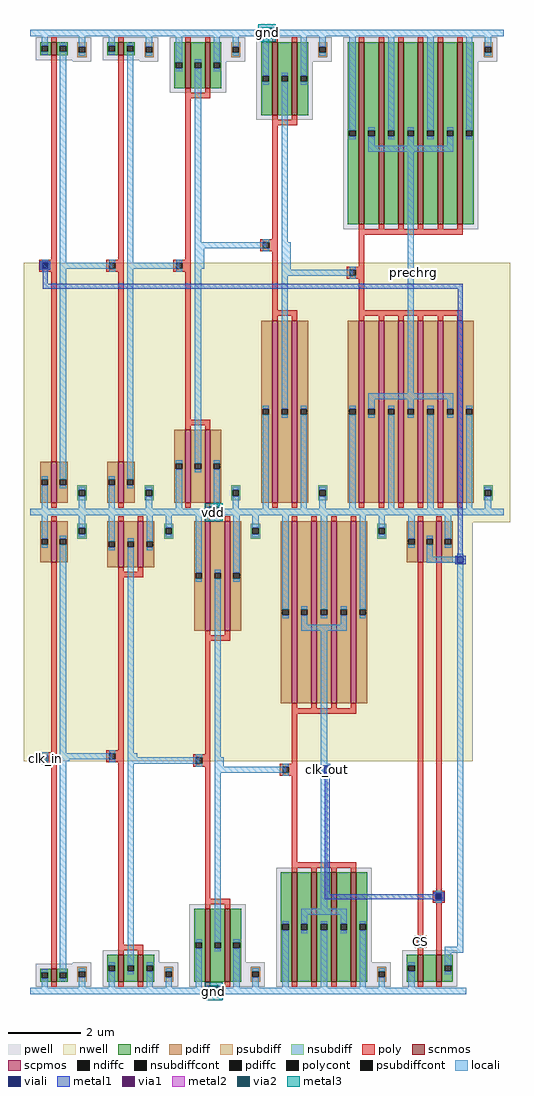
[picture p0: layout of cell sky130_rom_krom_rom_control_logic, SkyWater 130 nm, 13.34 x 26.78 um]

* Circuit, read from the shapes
.subckt sky130_rom_krom_rom_control_logic clk_in clk_out prechrg CS gnd vdd
XM1 sky130_rom_krom_rom_clock_driver_0/sky130_rom_krom_pinv_0_0/A clk_in gnd gnd sky130_fd_pr__nfet_01v8 w=0.36 l=0.15
XM2 sky130_rom_krom_rom_precharge_driver_0/sky130_rom_krom_pinv_0/A sky130_rom_krom_rom_precharge_driver_0/A gnd gnd sky130_fd_pr__nfet_01v8 w=0.36 l=0.15
XM3 sky130_rom_krom_rom_clock_driver_0/sky130_rom_krom_pinv_1_0/A sky130_rom_krom_rom_clock_driver_0/sky130_rom_krom_pinv_0_0/A gnd gnd sky130_fd_pr__nfet_01v8 w=0.74 l=0.15 m=2
XM4 sky130_rom_krom_rom_precharge_driver_0/sky130_rom_krom_pinv_3_0/A sky130_rom_krom_rom_precharge_driver_0/sky130_rom_krom_pinv_0/A gnd gnd sky130_fd_pr__nfet_01v8 w=0.36 l=0.15
XM5 sky130_rom_krom_rom_precharge_driver_0/sky130_rom_krom_pinv_4_0/A sky130_rom_krom_rom_precharge_driver_0/sky130_rom_krom_pinv_3_0/A gnd gnd sky130_fd_pr__nfet_01v8 w=1.26 l=0.15 m=2
XM6 sky130_rom_krom_rom_clock_driver_0/sky130_rom_krom_pinv_2_0/A sky130_rom_krom_rom_clock_driver_0/sky130_rom_krom_pinv_1_0/A gnd gnd sky130_fd_pr__nfet_01v8 w=2 l=0.15 m=2
XM7 sky130_rom_krom_rom_precharge_driver_0/sky130_rom_krom_pinv_5_0/A sky130_rom_krom_rom_precharge_driver_0/sky130_rom_krom_pinv_4_0/A gnd gnd sky130_fd_pr__nfet_01v8 w=2 l=0.15 m=2
XM8 clk_out sky130_rom_krom_rom_clock_driver_0/sky130_rom_krom_pinv_2_0/A gnd gnd sky130_fd_pr__nfet_01v8 w=3 l=0.15 m=4
XM9 prechrg sky130_rom_krom_rom_precharge_driver_0/sky130_rom_krom_pinv_5_0/A gnd gnd sky130_fd_pr__nfet_01v8 w=5 l=0.15 m=6
XM10 n1 CS gnd gnd sky130_fd_pr__nfet_01v8 w=0.74 l=0.15
XM11 sky130_rom_krom_rom_precharge_driver_0/A clk_out n1 gnd sky130_fd_pr__nfet_01v8 w=0.74 l=0.15
XM12 sky130_rom_krom_rom_clock_driver_0/sky130_rom_krom_pinv_0_0/A clk_in vdd vdd sky130_fd_pr__pfet_01v8 w=1.12 l=0.15
XM13 sky130_rom_krom_rom_precharge_driver_0/sky130_rom_krom_pinv_0/A sky130_rom_krom_rom_precharge_driver_0/A vdd vdd sky130_fd_pr__pfet_01v8 w=1.12 l=0.15
XM14 sky130_rom_krom_rom_clock_driver_0/sky130_rom_krom_pinv_1_0/A sky130_rom_krom_rom_clock_driver_0/sky130_rom_krom_pinv_0_0/A vdd vdd sky130_fd_pr__pfet_01v8 w=1.26 l=0.15 m=2
XM15 sky130_rom_krom_rom_precharge_driver_0/sky130_rom_krom_pinv_3_0/A sky130_rom_krom_rom_precharge_driver_0/sky130_rom_krom_pinv_0/A vdd vdd sky130_fd_pr__pfet_01v8 w=1.12 l=0.15
XM16 sky130_rom_krom_rom_precharge_driver_0/sky130_rom_krom_pinv_4_0/A sky130_rom_krom_rom_precharge_driver_0/sky130_rom_krom_pinv_3_0/A vdd vdd sky130_fd_pr__pfet_01v8 w=2 l=0.15 m=2
XM17 sky130_rom_krom_rom_clock_driver_0/sky130_rom_krom_pinv_2_0/A sky130_rom_krom_rom_clock_driver_0/sky130_rom_krom_pinv_1_0/A vdd vdd sky130_fd_pr__pfet_01v8 w=3 l=0.15 m=2
XM18 sky130_rom_krom_rom_precharge_driver_0/sky130_rom_krom_pinv_5_0/A sky130_rom_krom_rom_precharge_driver_0/sky130_rom_krom_pinv_4_0/A vdd vdd sky130_fd_pr__pfet_01v8 w=5 l=0.15 m=2
XM19 clk_out sky130_rom_krom_rom_clock_driver_0/sky130_rom_krom_pinv_2_0/A vdd vdd sky130_fd_pr__pfet_01v8 w=5 l=0.15 m=4
XM20 prechrg sky130_rom_krom_rom_precharge_driver_0/sky130_rom_krom_pinv_5_0/A vdd vdd sky130_fd_pr__pfet_01v8 w=5 l=0.15 m=6
XM21 sky130_rom_krom_rom_precharge_driver_0/A CS vdd vdd sky130_fd_pr__pfet_01v8 w=1.12 l=0.15
XM22 vdd clk_out sky130_rom_krom_rom_precharge_driver_0/A vdd sky130_fd_pr__pfet_01v8 w=1.12 l=0.15
.ends

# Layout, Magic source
magic
tech sky130A
magscale 1 2
<< locali >>
rect 1265 5240 1281 5274
rect 1315 5240 1331 5274
rect 64 3997 98 4013
rect 64 3947 98 3963
rect 2087 3925 2121 3959
rect 973 2611 989 2645
rect 1023 2611 1039 2645
rect 2342 2383 2376 2399
rect 2342 2333 2376 2349
rect 64 1244 98 1310
rect 1611 1232 1645 1248
rect 1611 1182 1645 1198
rect 2224 535 2258 551
rect 2224 485 2258 501
rect 2124 237 2158 303
rect 973 -17 989 17
rect 1023 -17 1039 17
<< viali >>
rect 1281 5240 1315 5274
rect 64 3963 98 3997
rect 989 2611 1023 2645
rect 2342 2349 2376 2383
rect 1611 1198 1645 1232
rect 2224 501 2258 535
rect 989 -17 1023 17
<< metal1 >>
rect 1272 5283 1324 5289
rect 1272 5225 1324 5231
rect 52 3997 110 4003
rect 52 3963 64 3997
rect 98 3963 110 3997
rect 52 3957 110 3963
rect 67 3882 95 3957
rect 67 3854 2373 3882
rect 980 2654 1032 2660
rect 980 2596 1032 2602
rect 2345 2389 2373 3854
rect 2330 2383 2388 2389
rect 2330 2349 2342 2383
rect 2376 2349 2388 2383
rect 2330 2343 2388 2349
rect 1599 1232 1657 1238
rect 1599 1198 1611 1232
rect 1645 1198 1657 1232
rect 1599 1192 1657 1198
rect 1614 532 1642 1192
rect 2212 535 2270 541
rect 2212 532 2224 535
rect 1614 504 2224 532
rect 2212 501 2224 504
rect 2258 501 2270 535
rect 2212 495 2270 501
rect 980 26 1032 32
rect 980 -32 1032 -26
<< via1 >>
rect 1272 5274 1324 5283
rect 1272 5240 1281 5274
rect 1281 5240 1315 5274
rect 1315 5240 1324 5274
rect 1272 5231 1324 5240
rect 980 2645 1032 2654
rect 980 2611 989 2645
rect 989 2611 1023 2645
rect 1023 2611 1032 2645
rect 980 2602 1032 2611
rect 980 17 1032 26
rect 980 -17 989 17
rect 989 -17 1023 17
rect 1023 -17 1032 17
rect 980 -26 1032 -17
<< metal2 >>
rect 1261 5229 1270 5285
rect 1326 5229 1335 5285
rect 969 2600 978 2656
rect 1034 2600 1043 2656
rect 969 -28 978 28
rect 1034 -28 1043 28
<< via2 >>
rect 1270 5283 1326 5285
rect 1270 5231 1272 5283
rect 1272 5231 1324 5283
rect 1324 5231 1326 5283
rect 1270 5229 1326 5231
rect 978 2654 1034 2656
rect 978 2602 980 2654
rect 980 2602 1032 2654
rect 1032 2602 1034 2654
rect 978 2600 1034 2602
rect 978 26 1034 28
rect 978 -26 980 26
rect 980 -26 1032 26
rect 1032 -26 1034 26
rect 978 -28 1034 -26
<< metal3 >>
rect 1249 5285 1347 5306
rect 1249 5229 1270 5285
rect 1326 5229 1347 5285
rect 1249 5208 1347 5229
rect 957 2656 1055 2677
rect 957 2600 978 2656
rect 1034 2600 1055 2656
rect 957 2579 1055 2600
rect 957 28 1055 49
rect 957 -28 978 28
rect 1034 -28 1055 28
rect 957 -49 1055 -28
use sky130_rom_krom_rom_clock_driver  sky130_rom_krom_rom_clock_driver_0
transform 1 0 0 0 1 0
box -36 -17 2048 2686
use sky130_rom_krom_rom_control_nand  sky130_rom_krom_rom_control_nand_0
transform 1 0 2012 0 1 0
box -36 -17 414 2686
use sky130_rom_krom_rom_precharge_driver  sky130_rom_krom_rom_precharge_driver_0
transform 1 0 0 0 -1 5257
box -36 -17 2632 2686
<< labels >>
rlabel locali s 81 1277 81 1277 4 clk_in
port 2 nsew
rlabel locali s 1628 1215 1628 1215 4 clk_out
port 3 nsew
rlabel locali s 2104 3942 2104 3942 4 prechrg
port 4 nsew
rlabel locali s 2141 270 2141 270 4 CS
port 5 nsew
rlabel metal3 s 1249 5208 1347 5306 4 gnd
port 7 nsew
rlabel metal3 s 957 -49 1055 49 4 gnd
port 7 nsew
rlabel metal3 s 957 2579 1055 2677 4 vdd
port 9 nsew
<< properties >>
string FIXED_BBOX 969 -33 1043 0
<< end >>

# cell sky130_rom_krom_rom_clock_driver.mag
magic
tech sky130A
magscale 1 2
<< nwell >>
rect -36 1261 2048 2686
<< locali >>
rect 0 2611 2012 2645
rect 64 1244 98 1310
rect 179 1272 449 1306
rect 551 1282 585 1289
rect 551 1248 925 1282
rect 1027 1232 1061 1265
rect 1027 1198 1401 1232
rect 1611 1198 1645 1232
rect 0 -17 2012 17
use sky130_rom_krom_pinv  sky130_rom_krom_pinv_0
transform 1 0 0 0 1 0
box -36 -17 404 2686
use sky130_rom_krom_pinv_0  sky130_rom_krom_pinv_0_0
transform 1 0 368 0 1 0
box -36 -17 512 2686
use sky130_rom_krom_pinv_1  sky130_rom_krom_pinv_1_0
transform 1 0 844 0 1 0
box -36 -17 512 2686
use sky130_rom_krom_pinv_2  sky130_rom_krom_pinv_2_0
transform 1 0 1320 0 1 0
box -36 -17 728 2686
<< labels >>
rlabel locali s 1628 1215 1628 1215 4 Z
port 1 nsew
rlabel locali s 81 1277 81 1277 4 A
port 2 nsew
rlabel locali s 1006 0 1006 0 4 gnd
port 3 nsew
rlabel locali s 1006 2628 1006 2628 4 vdd
port 4 nsew
<< properties >>
string FIXED_BBOX 0 0 2012 2628
<< end >>

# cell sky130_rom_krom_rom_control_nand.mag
magic
tech sky130A
magscale 1 2
<< nwell >>
rect -36 1262 414 2686
<< pwell >>
rect 28 25 330 225
<< scnmos >>
rect 114 51 144 199
rect 214 51 244 199
<< scpmos >>
rect 114 2354 144 2578
rect 214 2354 244 2578
<< ndiff >>
rect 54 142 114 199
rect 54 108 62 142
rect 96 108 114 142
rect 54 51 114 108
rect 144 51 214 199
rect 244 142 304 199
rect 244 108 262 142
rect 296 108 304 142
rect 244 51 304 108
<< pdiff >>
rect 54 2483 114 2578
rect 54 2449 62 2483
rect 96 2449 114 2483
rect 54 2354 114 2449
rect 144 2483 214 2578
rect 144 2449 162 2483
rect 196 2449 214 2483
rect 144 2354 214 2449
rect 244 2483 304 2578
rect 244 2449 262 2483
rect 296 2449 304 2483
rect 244 2354 304 2449
<< ndiffc >>
rect 62 108 96 142
rect 262 108 296 142
<< pdiffc >>
rect 62 2449 96 2483
rect 162 2449 196 2483
rect 262 2449 296 2483
<< poly >>
rect 114 2578 144 2604
rect 214 2578 244 2604
rect 114 303 144 2354
rect 214 551 244 2354
rect 196 535 262 551
rect 196 501 212 535
rect 246 501 262 535
rect 196 485 262 501
rect 96 287 162 303
rect 96 253 112 287
rect 146 253 162 287
rect 96 237 162 253
rect 114 199 144 237
rect 214 199 244 485
rect 114 25 144 51
rect 214 25 244 51
<< polycont >>
rect 212 501 246 535
rect 112 253 146 287
<< locali >>
rect 0 2612 378 2646
rect 62 2483 96 2612
rect 62 2433 96 2449
rect 162 2483 196 2499
rect 162 2383 196 2449
rect 262 2483 296 2612
rect 262 2433 296 2449
rect 162 2349 364 2383
rect 212 535 246 551
rect 212 485 246 501
rect 112 287 146 303
rect 112 237 146 253
rect 330 243 364 2349
rect 262 209 364 243
rect 62 142 96 158
rect 62 17 96 108
rect 262 142 296 209
rect 262 92 296 108
rect 0 -17 378 17
<< labels >>
rlabel locali s 347 2366 347 2366 4 Z
port 1 nsew
rlabel locali s 189 0 189 0 4 gnd
port 2 nsew
rlabel locali s 189 2629 189 2629 4 vdd
port 3 nsew
rlabel locali s 129 270 129 270 4 A
port 4 nsew
rlabel locali s 229 518 229 518 4 B
port 5 nsew
<< properties >>
string FIXED_BBOX 0 0 378 2382
<< end >>

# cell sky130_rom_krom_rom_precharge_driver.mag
magic
tech sky130A
magscale 1 2
<< nwell >>
rect -36 1261 2632 2686
<< locali >>
rect 0 2611 2596 2645
rect 64 1244 98 1310
rect 1395 1298 1769 1332
rect 2087 1298 2121 1332
rect 196 1260 449 1294
rect 564 1260 817 1294
rect 919 1182 953 1277
rect 919 1148 1293 1182
rect 1395 1165 1429 1298
rect 0 -17 2596 17
use sky130_rom_krom_pinv  sky130_rom_krom_pinv_0
transform 1 0 368 0 1 0
box -36 -17 404 2686
use sky130_rom_krom_pinv  sky130_rom_krom_pinv_1
transform 1 0 0 0 1 0
box -36 -17 404 2686
use sky130_rom_krom_pinv_3  sky130_rom_krom_pinv_3_0
transform 1 0 736 0 1 0
box -36 -17 512 2686
use sky130_rom_krom_pinv_4  sky130_rom_krom_pinv_4_0
transform 1 0 1212 0 1 0
box -36 -17 512 2686
use sky130_rom_krom_pinv_5  sky130_rom_krom_pinv_5_0
transform 1 0 1688 0 1 0
box -36 -17 944 2686
<< labels >>
rlabel locali s 2104 1315 2104 1315 4 Z
port 1 nsew
rlabel locali s 81 1277 81 1277 4 A
port 2 nsew
rlabel locali s 1298 0 1298 0 4 gnd
port 3 nsew
rlabel locali s 1298 2628 1298 2628 4 vdd
port 4 nsew
<< properties >>
string FIXED_BBOX 0 0 2596 2628
<< end >>

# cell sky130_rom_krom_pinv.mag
magic
tech sky130A
magscale 1 2
<< nwell >>
rect -36 1262 404 2686
<< pwell >>
rect 232 149 334 159
rect 28 25 334 149
<< scnmos >>
rect 114 51 144 123
<< scpmos >>
rect 114 2354 144 2578
<< ndiff >>
rect 54 104 114 123
rect 54 70 62 104
rect 96 70 114 104
rect 54 51 114 70
rect 144 104 204 123
rect 144 70 162 104
rect 196 70 204 104
rect 144 51 204 70
<< pdiff >>
rect 54 2483 114 2578
rect 54 2449 62 2483
rect 96 2449 114 2483
rect 54 2354 114 2449
rect 144 2483 204 2578
rect 144 2449 162 2483
rect 196 2449 204 2483
rect 144 2354 204 2449
<< ndiffc >>
rect 62 70 96 104
rect 162 70 196 104
<< pdiffc >>
rect 62 2449 96 2483
rect 162 2449 196 2483
<< psubdiff >>
rect 258 109 308 133
rect 258 75 266 109
rect 300 75 308 109
rect 258 51 308 75
<< nsubdiff >>
rect 258 2541 308 2565
rect 258 2507 266 2541
rect 300 2507 308 2541
rect 258 2483 308 2507
<< psubdiffcont >>
rect 266 75 300 109
<< nsubdiffcont >>
rect 266 2507 300 2541
<< poly >>
rect 114 2578 144 2604
rect 114 1310 144 2354
rect 48 1294 144 1310
rect 48 1260 64 1294
rect 98 1260 144 1294
rect 48 1244 144 1260
rect 114 123 144 1244
rect 114 25 144 51
<< polycont >>
rect 64 1260 98 1294
<< locali >>
rect 0 2612 368 2646
rect 62 2483 96 2612
rect 266 2541 300 2612
rect 62 2433 96 2449
rect 162 2483 196 2499
rect 266 2491 300 2507
rect 64 1294 98 1310
rect 64 1244 98 1260
rect 162 1294 196 2449
rect 162 1260 213 1294
rect 62 104 96 120
rect 62 17 96 70
rect 162 104 196 1260
rect 162 54 196 70
rect 266 109 300 125
rect 266 17 300 75
rect 0 -17 368 17
<< labels >>
rlabel locali s 81 1277 81 1277 4 A
port 1 nsew
rlabel locali s 196 1277 196 1277 4 Z
port 2 nsew
rlabel locali s 184 0 184 0 4 gnd
port 3 nsew
rlabel locali s 184 2629 184 2629 4 vdd
port 4 nsew
<< properties >>
string FIXED_BBOX 0 0 368 2382
<< end >>

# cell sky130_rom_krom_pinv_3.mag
magic
tech sky130A
magscale 1 2
<< nwell >>
rect -36 1262 512 2686
<< pwell >>
rect 28 159 338 329
rect 28 25 442 159
<< scnmos >>
rect 114 51 144 303
rect 222 51 252 303
<< scpmos >>
rect 114 2178 144 2578
rect 222 2178 252 2578
<< ndiff >>
rect 54 194 114 303
rect 54 160 62 194
rect 96 160 114 194
rect 54 51 114 160
rect 144 194 222 303
rect 144 160 166 194
rect 200 160 222 194
rect 144 51 222 160
rect 252 194 312 303
rect 252 160 270 194
rect 304 160 312 194
rect 252 51 312 160
<< pdiff >>
rect 54 2395 114 2578
rect 54 2361 62 2395
rect 96 2361 114 2395
rect 54 2178 114 2361
rect 144 2395 222 2578
rect 144 2361 166 2395
rect 200 2361 222 2395
rect 144 2178 222 2361
rect 252 2395 312 2578
rect 252 2361 270 2395
rect 304 2361 312 2395
rect 252 2178 312 2361
<< ndiffc >>
rect 62 160 96 194
rect 166 160 200 194
rect 270 160 304 194
<< pdiffc >>
rect 62 2361 96 2395
rect 166 2361 200 2395
rect 270 2361 304 2395
<< psubdiff >>
rect 366 109 416 133
rect 366 75 374 109
rect 408 75 416 109
rect 366 51 416 75
<< nsubdiff >>
rect 366 2541 416 2565
rect 366 2507 374 2541
rect 408 2507 416 2541
rect 366 2483 416 2507
<< psubdiffcont >>
rect 374 75 408 109
<< nsubdiffcont >>
rect 374 2507 408 2541
<< poly >>
rect 114 2578 144 2604
rect 222 2578 252 2604
rect 114 2152 144 2178
rect 222 2152 252 2178
rect 114 2122 252 2152
rect 114 1310 144 2122
rect 48 1294 144 1310
rect 48 1260 64 1294
rect 98 1260 144 1294
rect 48 1244 144 1260
rect 114 359 144 1244
rect 114 329 252 359
rect 114 303 144 329
rect 222 303 252 329
rect 114 25 144 51
rect 222 25 252 51
<< polycont >>
rect 64 1260 98 1294
<< locali >>
rect 0 2612 476 2646
rect 62 2395 96 2612
rect 62 2345 96 2361
rect 166 2395 200 2411
rect 64 1294 98 1310
rect 64 1244 98 1260
rect 166 1294 200 2361
rect 270 2395 304 2612
rect 374 2541 408 2612
rect 374 2491 408 2507
rect 270 2345 304 2361
rect 166 1260 217 1294
rect 62 194 96 210
rect 62 17 96 160
rect 166 194 200 1260
rect 166 144 200 160
rect 270 194 304 210
rect 270 17 304 160
rect 374 109 408 125
rect 374 17 408 75
rect 0 -17 476 17
<< labels >>
rlabel locali s 81 1277 81 1277 4 A
port 1 nsew
rlabel locali s 200 1277 200 1277 4 Z
port 2 nsew
rlabel locali s 238 0 238 0 4 gnd
port 3 nsew
rlabel locali s 238 2629 238 2629 4 vdd
port 4 nsew
<< properties >>
string FIXED_BBOX 0 0 476 2294
<< end >>

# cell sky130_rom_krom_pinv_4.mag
magic
tech sky130A
magscale 1 2
<< nwell >>
rect -36 1262 512 2686
<< pwell >>
rect 28 159 338 477
rect 28 25 442 159
<< scnmos >>
rect 114 51 144 451
rect 222 51 252 451
<< scpmos >>
rect 114 1578 144 2578
rect 222 1578 252 2578
<< ndiff >>
rect 54 268 114 451
rect 54 234 62 268
rect 96 234 114 268
rect 54 51 114 234
rect 144 268 222 451
rect 144 234 166 268
rect 200 234 222 268
rect 144 51 222 234
rect 252 268 312 451
rect 252 234 270 268
rect 304 234 312 268
rect 252 51 312 234
<< pdiff >>
rect 54 2095 114 2578
rect 54 2061 62 2095
rect 96 2061 114 2095
rect 54 1578 114 2061
rect 144 2095 222 2578
rect 144 2061 166 2095
rect 200 2061 222 2095
rect 144 1578 222 2061
rect 252 2095 312 2578
rect 252 2061 270 2095
rect 304 2061 312 2095
rect 252 1578 312 2061
<< ndiffc >>
rect 62 234 96 268
rect 166 234 200 268
rect 270 234 304 268
<< pdiffc >>
rect 62 2061 96 2095
rect 166 2061 200 2095
rect 270 2061 304 2095
<< psubdiff >>
rect 366 109 416 133
rect 366 75 374 109
rect 408 75 416 109
rect 366 51 416 75
<< nsubdiff >>
rect 366 2541 416 2565
rect 366 2507 374 2541
rect 408 2507 416 2541
rect 366 2483 416 2507
<< psubdiffcont >>
rect 374 75 408 109
<< nsubdiffcont >>
rect 374 2507 408 2541
<< poly >>
rect 114 2578 144 2604
rect 222 2578 252 2604
rect 114 1552 144 1578
rect 222 1552 252 1578
rect 114 1522 252 1552
rect 114 1198 144 1522
rect 48 1182 144 1198
rect 48 1148 64 1182
rect 98 1148 144 1182
rect 48 1132 144 1148
rect 114 507 144 1132
rect 114 477 252 507
rect 114 451 144 477
rect 222 451 252 477
rect 114 25 144 51
rect 222 25 252 51
<< polycont >>
rect 64 1148 98 1182
<< locali >>
rect 0 2612 476 2646
rect 62 2095 96 2612
rect 62 2045 96 2061
rect 166 2095 200 2111
rect 64 1182 98 1198
rect 64 1132 98 1148
rect 166 1182 200 2061
rect 270 2095 304 2612
rect 374 2541 408 2612
rect 374 2491 408 2507
rect 270 2045 304 2061
rect 166 1148 217 1182
rect 62 268 96 284
rect 62 17 96 234
rect 166 268 200 1148
rect 166 218 200 234
rect 270 268 304 284
rect 270 17 304 234
rect 374 109 408 125
rect 374 17 408 75
rect 0 -17 476 17
<< labels >>
rlabel locali s 81 1165 81 1165 4 A
port 1 nsew
rlabel locali s 200 1165 200 1165 4 Z
port 2 nsew
rlabel locali s 238 0 238 0 4 gnd
port 3 nsew
rlabel locali s 238 2629 238 2629 4 vdd
port 4 nsew
<< properties >>
string FIXED_BBOX 0 0 476 1994
<< end >>

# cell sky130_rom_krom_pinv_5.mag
magic
tech sky130A
magscale 1 2
<< nwell >>
rect -36 1262 944 2686
<< pwell >>
rect 28 159 770 1077
rect 28 25 874 159
<< scnmos >>
rect 114 51 144 1051
rect 222 51 252 1051
rect 330 51 360 1051
rect 438 51 468 1051
rect 546 51 576 1051
rect 654 51 684 1051
<< scpmos >>
rect 114 1578 144 2578
rect 222 1578 252 2578
rect 330 1578 360 2578
rect 438 1578 468 2578
rect 546 1578 576 2578
rect 654 1578 684 2578
<< ndiff >>
rect 54 568 114 1051
rect 54 534 62 568
rect 96 534 114 568
rect 54 51 114 534
rect 144 568 222 1051
rect 144 534 166 568
rect 200 534 222 568
rect 144 51 222 534
rect 252 568 330 1051
rect 252 534 274 568
rect 308 534 330 568
rect 252 51 330 534
rect 360 568 438 1051
rect 360 534 382 568
rect 416 534 438 568
rect 360 51 438 534
rect 468 568 546 1051
rect 468 534 490 568
rect 524 534 546 568
rect 468 51 546 534
rect 576 568 654 1051
rect 576 534 598 568
rect 632 534 654 568
rect 576 51 654 534
rect 684 568 744 1051
rect 684 534 702 568
rect 736 534 744 568
rect 684 51 744 534
<< pdiff >>
rect 54 2095 114 2578
rect 54 2061 62 2095
rect 96 2061 114 2095
rect 54 1578 114 2061
rect 144 2095 222 2578
rect 144 2061 166 2095
rect 200 2061 222 2095
rect 144 1578 222 2061
rect 252 2095 330 2578
rect 252 2061 274 2095
rect 308 2061 330 2095
rect 252 1578 330 2061
rect 360 2095 438 2578
rect 360 2061 382 2095
rect 416 2061 438 2095
rect 360 1578 438 2061
rect 468 2095 546 2578
rect 468 2061 490 2095
rect 524 2061 546 2095
rect 468 1578 546 2061
rect 576 2095 654 2578
rect 576 2061 598 2095
rect 632 2061 654 2095
rect 576 1578 654 2061
rect 684 2095 744 2578
rect 684 2061 702 2095
rect 736 2061 744 2095
rect 684 1578 744 2061
<< ndiffc >>
rect 62 534 96 568
rect 166 534 200 568
rect 274 534 308 568
rect 382 534 416 568
rect 490 534 524 568
rect 598 534 632 568
rect 702 534 736 568
<< pdiffc >>
rect 62 2061 96 2095
rect 166 2061 200 2095
rect 274 2061 308 2095
rect 382 2061 416 2095
rect 490 2061 524 2095
rect 598 2061 632 2095
rect 702 2061 736 2095
<< psubdiff >>
rect 798 109 848 133
rect 798 75 806 109
rect 840 75 848 109
rect 798 51 848 75
<< nsubdiff >>
rect 798 2541 848 2565
rect 798 2507 806 2541
rect 840 2507 848 2541
rect 798 2483 848 2507
<< psubdiffcont >>
rect 806 75 840 109
<< nsubdiffcont >>
rect 806 2507 840 2541
<< poly >>
rect 114 2578 144 2604
rect 222 2578 252 2604
rect 330 2578 360 2604
rect 438 2578 468 2604
rect 546 2578 576 2604
rect 654 2578 684 2604
rect 114 1552 144 1578
rect 222 1552 252 1578
rect 330 1552 360 1578
rect 438 1552 468 1578
rect 546 1552 576 1578
rect 654 1552 684 1578
rect 114 1522 684 1552
rect 114 1348 144 1522
rect 48 1332 144 1348
rect 48 1298 64 1332
rect 98 1298 144 1332
rect 48 1282 144 1298
rect 114 1107 144 1282
rect 114 1077 684 1107
rect 114 1051 144 1077
rect 222 1051 252 1077
rect 330 1051 360 1077
rect 438 1051 468 1077
rect 546 1051 576 1077
rect 654 1051 684 1077
rect 114 25 144 51
rect 222 25 252 51
rect 330 25 360 51
rect 438 25 468 51
rect 546 25 576 51
rect 654 25 684 51
<< polycont >>
rect 64 1298 98 1332
<< locali >>
rect 0 2612 908 2646
rect 62 2095 96 2612
rect 62 2045 96 2061
rect 166 2095 200 2111
rect 166 2011 200 2061
rect 274 2095 308 2612
rect 274 2045 308 2061
rect 382 2095 416 2111
rect 382 2011 416 2061
rect 490 2095 524 2612
rect 490 2045 524 2061
rect 598 2095 632 2111
rect 598 2011 632 2061
rect 702 2095 736 2612
rect 806 2541 840 2612
rect 806 2491 840 2507
rect 702 2045 736 2061
rect 166 1977 632 2011
rect 64 1332 98 1348
rect 64 1282 98 1298
rect 382 1332 416 1977
rect 382 1298 433 1332
rect 382 652 416 1298
rect 166 618 632 652
rect 62 568 96 584
rect 62 17 96 534
rect 166 568 200 618
rect 166 518 200 534
rect 274 568 308 584
rect 274 17 308 534
rect 382 568 416 618
rect 382 518 416 534
rect 490 568 524 584
rect 490 17 524 534
rect 598 568 632 618
rect 598 518 632 534
rect 702 568 736 584
rect 702 17 736 534
rect 806 109 840 125
rect 806 17 840 75
rect 0 -17 908 17
<< labels >>
rlabel locali s 81 1315 81 1315 4 A
port 1 nsew
rlabel locali s 416 1315 416 1315 4 Z
port 2 nsew
rlabel locali s 454 0 454 0 4 gnd
port 3 nsew
rlabel locali s 454 2629 454 2629 4 vdd
port 4 nsew
<< properties >>
string FIXED_BBOX 0 0 908 1994
<< end >>

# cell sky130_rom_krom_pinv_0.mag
magic
tech sky130A
magscale 1 2
<< nwell >>
rect -36 1262 512 2686
<< pwell >>
rect 28 159 338 225
rect 28 25 442 159
<< scnmos >>
rect 114 51 144 199
rect 222 51 252 199
<< scpmos >>
rect 114 2326 144 2578
rect 222 2326 252 2578
<< ndiff >>
rect 54 142 114 199
rect 54 108 62 142
rect 96 108 114 142
rect 54 51 114 108
rect 144 142 222 199
rect 144 108 166 142
rect 200 108 222 142
rect 144 51 222 108
rect 252 142 312 199
rect 252 108 270 142
rect 304 108 312 142
rect 252 51 312 108
<< pdiff >>
rect 54 2469 114 2578
rect 54 2435 62 2469
rect 96 2435 114 2469
rect 54 2326 114 2435
rect 144 2469 222 2578
rect 144 2435 166 2469
rect 200 2435 222 2469
rect 144 2326 222 2435
rect 252 2469 312 2578
rect 252 2435 270 2469
rect 304 2435 312 2469
rect 252 2326 312 2435
<< ndiffc >>
rect 62 108 96 142
rect 166 108 200 142
rect 270 108 304 142
<< pdiffc >>
rect 62 2435 96 2469
rect 166 2435 200 2469
rect 270 2435 304 2469
<< psubdiff >>
rect 366 109 416 133
rect 366 75 374 109
rect 408 75 416 109
rect 366 51 416 75
<< nsubdiff >>
rect 366 2541 416 2565
rect 366 2507 374 2541
rect 408 2507 416 2541
rect 366 2483 416 2507
<< psubdiffcont >>
rect 374 75 408 109
<< nsubdiffcont >>
rect 374 2507 408 2541
<< poly >>
rect 114 2578 144 2604
rect 222 2578 252 2604
rect 114 2300 144 2326
rect 222 2300 252 2326
rect 114 2270 252 2300
rect 114 1322 144 2270
rect 48 1306 144 1322
rect 48 1272 64 1306
rect 98 1272 144 1306
rect 48 1256 144 1272
rect 114 255 144 1256
rect 114 225 252 255
rect 114 199 144 225
rect 222 199 252 225
rect 114 25 144 51
rect 222 25 252 51
<< polycont >>
rect 64 1272 98 1306
<< locali >>
rect 0 2612 476 2646
rect 62 2469 96 2612
rect 62 2419 96 2435
rect 166 2469 200 2485
rect 64 1306 98 1322
rect 64 1256 98 1272
rect 166 1306 200 2435
rect 270 2469 304 2612
rect 374 2541 408 2612
rect 374 2491 408 2507
rect 270 2419 304 2435
rect 166 1272 217 1306
rect 62 142 96 158
rect 62 17 96 108
rect 166 142 200 1272
rect 166 92 200 108
rect 270 142 304 158
rect 270 17 304 108
rect 374 109 408 125
rect 374 17 408 75
rect 0 -17 476 17
<< labels >>
rlabel locali s 81 1289 81 1289 4 A
port 1 nsew
rlabel locali s 200 1289 200 1289 4 Z
port 2 nsew
rlabel locali s 238 0 238 0 4 gnd
port 3 nsew
rlabel locali s 238 2629 238 2629 4 vdd
port 4 nsew
<< properties >>
string FIXED_BBOX 0 0 476 2368
<< end >>

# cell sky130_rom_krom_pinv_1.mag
magic
tech sky130A
magscale 1 2
<< nwell >>
rect -36 1262 512 2686
<< pwell >>
rect 28 159 338 477
rect 28 25 442 159
<< scnmos >>
rect 114 51 144 451
rect 222 51 252 451
<< scpmos >>
rect 114 1978 144 2578
rect 222 1978 252 2578
<< ndiff >>
rect 54 268 114 451
rect 54 234 62 268
rect 96 234 114 268
rect 54 51 114 234
rect 144 268 222 451
rect 144 234 166 268
rect 200 234 222 268
rect 144 51 222 234
rect 252 268 312 451
rect 252 234 270 268
rect 304 234 312 268
rect 252 51 312 234
<< pdiff >>
rect 54 2295 114 2578
rect 54 2261 62 2295
rect 96 2261 114 2295
rect 54 1978 114 2261
rect 144 2295 222 2578
rect 144 2261 166 2295
rect 200 2261 222 2295
rect 144 1978 222 2261
rect 252 2295 312 2578
rect 252 2261 270 2295
rect 304 2261 312 2295
rect 252 1978 312 2261
<< ndiffc >>
rect 62 234 96 268
rect 166 234 200 268
rect 270 234 304 268
<< pdiffc >>
rect 62 2261 96 2295
rect 166 2261 200 2295
rect 270 2261 304 2295
<< psubdiff >>
rect 366 109 416 133
rect 366 75 374 109
rect 408 75 416 109
rect 366 51 416 75
<< nsubdiff >>
rect 366 2541 416 2565
rect 366 2507 374 2541
rect 408 2507 416 2541
rect 366 2483 416 2507
<< psubdiffcont >>
rect 374 75 408 109
<< nsubdiffcont >>
rect 374 2507 408 2541
<< poly >>
rect 114 2578 144 2604
rect 222 2578 252 2604
rect 114 1952 144 1978
rect 222 1952 252 1978
rect 114 1922 252 1952
rect 114 1298 144 1922
rect 48 1282 144 1298
rect 48 1248 64 1282
rect 98 1248 144 1282
rect 48 1232 144 1248
rect 114 507 144 1232
rect 114 477 252 507
rect 114 451 144 477
rect 222 451 252 477
rect 114 25 144 51
rect 222 25 252 51
<< polycont >>
rect 64 1248 98 1282
<< locali >>
rect 0 2612 476 2646
rect 62 2295 96 2612
rect 62 2245 96 2261
rect 166 2295 200 2311
rect 64 1282 98 1298
rect 64 1232 98 1248
rect 166 1282 200 2261
rect 270 2295 304 2612
rect 374 2541 408 2612
rect 374 2491 408 2507
rect 270 2245 304 2261
rect 166 1248 217 1282
rect 62 268 96 284
rect 62 17 96 234
rect 166 268 200 1248
rect 166 218 200 234
rect 270 268 304 284
rect 270 17 304 234
rect 374 109 408 125
rect 374 17 408 75
rect 0 -17 476 17
<< labels >>
rlabel locali s 81 1265 81 1265 4 A
port 1 nsew
rlabel locali s 200 1265 200 1265 4 Z
port 2 nsew
rlabel locali s 238 0 238 0 4 gnd
port 3 nsew
rlabel locali s 238 2629 238 2629 4 vdd
port 4 nsew
<< properties >>
string FIXED_BBOX 0 0 476 2194
<< end >>

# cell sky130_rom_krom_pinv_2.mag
magic
tech sky130A
magscale 1 2
<< nwell >>
rect -36 1262 728 2686
<< pwell >>
rect 28 159 554 677
rect 28 25 658 159
<< scnmos >>
rect 114 51 144 651
rect 222 51 252 651
rect 330 51 360 651
rect 438 51 468 651
<< scpmos >>
rect 114 1578 144 2578
rect 222 1578 252 2578
rect 330 1578 360 2578
rect 438 1578 468 2578
<< ndiff >>
rect 54 368 114 651
rect 54 334 62 368
rect 96 334 114 368
rect 54 51 114 334
rect 144 368 222 651
rect 144 334 166 368
rect 200 334 222 368
rect 144 51 222 334
rect 252 368 330 651
rect 252 334 274 368
rect 308 334 330 368
rect 252 51 330 334
rect 360 368 438 651
rect 360 334 382 368
rect 416 334 438 368
rect 360 51 438 334
rect 468 368 528 651
rect 468 334 486 368
rect 520 334 528 368
rect 468 51 528 334
<< pdiff >>
rect 54 2095 114 2578
rect 54 2061 62 2095
rect 96 2061 114 2095
rect 54 1578 114 2061
rect 144 2095 222 2578
rect 144 2061 166 2095
rect 200 2061 222 2095
rect 144 1578 222 2061
rect 252 2095 330 2578
rect 252 2061 274 2095
rect 308 2061 330 2095
rect 252 1578 330 2061
rect 360 2095 438 2578
rect 360 2061 382 2095
rect 416 2061 438 2095
rect 360 1578 438 2061
rect 468 2095 528 2578
rect 468 2061 486 2095
rect 520 2061 528 2095
rect 468 1578 528 2061
<< ndiffc >>
rect 62 334 96 368
rect 166 334 200 368
rect 274 334 308 368
rect 382 334 416 368
rect 486 334 520 368
<< pdiffc >>
rect 62 2061 96 2095
rect 166 2061 200 2095
rect 274 2061 308 2095
rect 382 2061 416 2095
rect 486 2061 520 2095
<< psubdiff >>
rect 582 109 632 133
rect 582 75 590 109
rect 624 75 632 109
rect 582 51 632 75
<< nsubdiff >>
rect 582 2541 632 2565
rect 582 2507 590 2541
rect 624 2507 632 2541
rect 582 2483 632 2507
<< psubdiffcont >>
rect 590 75 624 109
<< nsubdiffcont >>
rect 590 2507 624 2541
<< poly >>
rect 114 2578 144 2604
rect 222 2578 252 2604
rect 330 2578 360 2604
rect 438 2578 468 2604
rect 114 1552 144 1578
rect 222 1552 252 1578
rect 330 1552 360 1578
rect 438 1552 468 1578
rect 114 1522 468 1552
rect 114 1248 144 1522
rect 48 1232 144 1248
rect 48 1198 64 1232
rect 98 1198 144 1232
rect 48 1182 144 1198
rect 114 707 144 1182
rect 114 677 468 707
rect 114 651 144 677
rect 222 651 252 677
rect 330 651 360 677
rect 438 651 468 677
rect 114 25 144 51
rect 222 25 252 51
rect 330 25 360 51
rect 438 25 468 51
<< polycont >>
rect 64 1198 98 1232
<< locali >>
rect 0 2612 692 2646
rect 62 2095 96 2612
rect 62 2045 96 2061
rect 166 2095 200 2111
rect 166 2011 200 2061
rect 274 2095 308 2612
rect 274 2045 308 2061
rect 382 2095 416 2111
rect 382 2011 416 2061
rect 486 2095 520 2612
rect 590 2541 624 2612
rect 590 2491 624 2507
rect 486 2045 520 2061
rect 166 1977 416 2011
rect 64 1232 98 1248
rect 64 1182 98 1198
rect 274 1232 308 1977
rect 274 1198 325 1232
rect 274 452 308 1198
rect 166 418 416 452
rect 62 368 96 384
rect 62 17 96 334
rect 166 368 200 418
rect 166 318 200 334
rect 274 368 308 384
rect 274 17 308 334
rect 382 368 416 418
rect 382 318 416 334
rect 486 368 520 384
rect 486 17 520 334
rect 590 109 624 125
rect 590 17 624 75
rect 0 -17 692 17
<< labels >>
rlabel locali s 81 1215 81 1215 4 A
port 1 nsew
rlabel locali s 308 1215 308 1215 4 Z
port 2 nsew
rlabel locali s 346 0 346 0 4 gnd
port 3 nsew
rlabel locali s 346 2629 346 2629 4 vdd
port 4 nsew
<< properties >>
string FIXED_BBOX 0 0 692 1994
<< end >>
